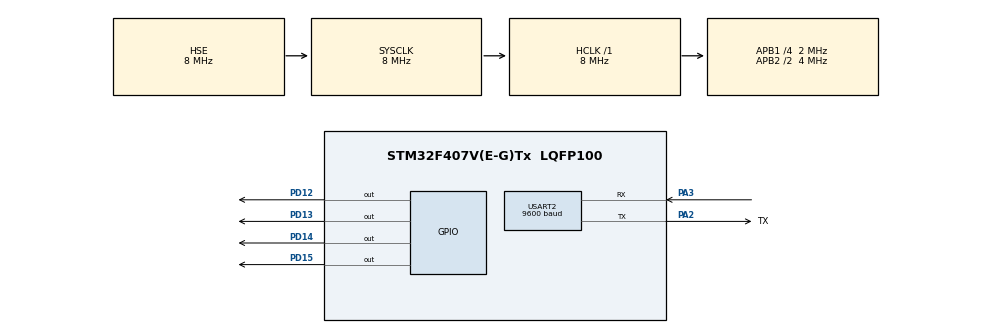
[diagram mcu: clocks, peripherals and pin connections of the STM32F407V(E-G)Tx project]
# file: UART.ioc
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Mcu.Family=STM32F4
Mcu.Name=STM32F407V(E-G)Tx
Mcu.Package=LQFP100
NVIC.PriorityGroup=NVIC_PRIORITYGROUP_4
NVIC.USART2_IRQn=true\:0\:0\:false\:false\:true\:true\:true\:true
PA2.GPIO_Label=TX
PA2.Mode=Asynchronous
PA2.Signal=USART2_TX
PA3.GPIO_PuPd=GPIO_PULLUP
PA3.Mode=Asynchronous
PA3.Signal=USART2_RX
PD12.Signal=GPIO_Output
PD13.Signal=GPIO_Output
PD14.Signal=GPIO_Output
PD15.Signal=GPIO_Output
PH0-OSC_IN.Mode=HSE-External-Oscillator
PH0-OSC_IN.Signal=RCC_OSC_IN
PH1-OSC_OUT.Mode=HSE-External-Oscillator
PH1-OSC_OUT.Signal=RCC_OSC_OUT
ProjectManager.HeapSize=0x200
ProjectManager.StackSize=0x400
ProjectManager.TargetToolchain=STM32CubeIDE
RCC.48MHZClocksFreq_Value=25000000
RCC.AHBFreq_Value=8000000
RCC.APB1CLKDivider=RCC_HCLK_DIV4
RCC.APB1Freq_Value=2000000
RCC.APB1TimFreq_Value=4000000
RCC.APB2CLKDivider=RCC_HCLK_DIV2
RCC.APB2Freq_Value=4000000
RCC.APB2TimFreq_Value=8000000
RCC.CortexFreq_Value=8000000
RCC.HCLKFreq_Value=8000000
RCC.HSE_VALUE=8000000
RCC.HSI_VALUE=16000000
RCC.LSE_VALUE=32768
RCC.PLLM=8
RCC.PLLN=100
RCC.PLLSourceVirtual=RCC_PLLSOURCE_HSE
RCC.SYSCLKFreq_VALUE=8000000
RCC.SYSCLKSource=RCC_SYSCLKSOURCE_HSE
RCC.VCOOutputFreq_Value=100000000
USART2.BaudRate=9600
USART2.Parity=PARITY_NONE
USART2.VirtualMode=VM_ASYNC
board=custom

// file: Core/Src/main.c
/* USER CODE BEGIN Header */
/**
  ******************************************************************************
  * @file           : main.c
  * @brief          : Main program body
  ******************************************************************************
  * @attention
  *
  * Copyright (c) 2024 STMicroelectronics.
  * All rights reserved.
  *
  * This software is licensed under terms that can be found in the LICENSE file
  * in the root directory of this software component.
  * If no LICENSE file comes with this software, it is provided AS-IS.
  *
  ******************************************************************************
  */
/* USER CODE END Header */
#include "main.h"

/* USER CODE BEGIN PD */
//#define TX;
#define RX;
/* USER CODE END PD */

UART_HandleTypeDef huart2;

/* USER CODE BEGIN PV */
char TxBuffer[5]="nizar";
char RxBuffer[5];

/* USER CODE END PV */

void SystemClock_Config(void);
static void MX_GPIO_Init(void);
static void MX_USART2_UART_Init(void);

/* USER CODE BEGIN 0 */
#ifdef TX
void HAL_UART_TxCpltCallback(UART_HandleTypeDef *huart)
{
	  HAL_GPIO_WritePin(GPIOD, GPIO_PIN_12, GPIO_PIN_SET);

}
#endif
#ifdef RX
void HAL_UART_RxCpltCallback(UART_HandleTypeDef *huart)
{
	HAL_GPIO_WritePin(GPIOD, GPIO_PIN_12, GPIO_PIN_SET);
}
#endif

/* USER CODE END 0 */

int main(void)
{

  /* MCU Configuration--------------------------------------------------------*/

  /* Reset of all peripherals, Initializes the Flash interface and the Systick. */
  HAL_Init();

  /* Configure the system clock */
  SystemClock_Config();

  /* Initialize all configured peripherals */
  MX_GPIO_Init();
  MX_USART2_UART_Init();
  /* USER CODE BEGIN 2 */
#ifdef TX
  if(HAL_UART_Transmit_IT(&huart2, TxBuffer, sizeof(TxBuffer)) != HAL_OK)
  {
    Error_Handler();
  }
#endif

#ifdef RX
  if (HAL_UART_Receive_IT(&huart2, RxBuffer,sizeof(RxBuffer)) != HAL_OK)
  {
    Error_Handler();
  }
#endif
  /* USER CODE END 2 */

  /* Infinite loop */
  /* USER CODE BEGIN WHILE */

  while (1)
  {

	  HAL_GPIO_TogglePin(GPIOD,GPIO_PIN_13|GPIO_PIN_15);

    /* USER CODE END WHILE */

  }
}

void SystemClock_Config(void)
{
  RCC_OscInitTypeDef RCC_OscInitStruct = {0};
  RCC_ClkInitTypeDef RCC_ClkInitStruct = {0};

  /** Configure the main internal regulator output voltage
  */
  __HAL_RCC_PWR_CLK_ENABLE();
  __HAL_PWR_VOLTAGESCALING_CONFIG(PWR_REGULATOR_VOLTAGE_SCALE1);

  /** Initializes the RCC Oscillators according to the specified parameters
  * in the RCC_OscInitTypeDef structure.
  */
  RCC_OscInitStruct.OscillatorType = RCC_OSCILLATORTYPE_HSE;
  RCC_OscInitStruct.HSEState = RCC_HSE_ON;
  RCC_OscInitStruct.PLL.PLLState = RCC_PLL_NONE;
  if (HAL_RCC_OscConfig(&RCC_OscInitStruct) != HAL_OK)
  {
    Error_Handler();
  }

  /** Initializes the CPU, AHB and APB buses clocks
  */
  RCC_ClkInitStruct.ClockType = RCC_CLOCKTYPE_HCLK|RCC_CLOCKTYPE_SYSCLK
                              |RCC_CLOCKTYPE_PCLK1|RCC_CLOCKTYPE_PCLK2;
  RCC_ClkInitStruct.SYSCLKSource = RCC_SYSCLKSOURCE_HSE;
  RCC_ClkInitStruct.AHBCLKDivider = RCC_SYSCLK_DIV1;
  RCC_ClkInitStruct.APB1CLKDivider = RCC_HCLK_DIV4;
  RCC_ClkInitStruct.APB2CLKDivider = RCC_HCLK_DIV2;

  if (HAL_RCC_ClockConfig(&RCC_ClkInitStruct, FLASH_LATENCY_0) != HAL_OK)
  {
    Error_Handler();
  }
}

static void MX_USART2_UART_Init(void)
{

  huart2.Instance = USART2;
  huart2.Init.BaudRate = 9600;
  huart2.Init.WordLength = UART_WORDLENGTH_8B;
  huart2.Init.StopBits = UART_STOPBITS_1;
  huart2.Init.Parity = UART_PARITY_NONE;
  huart2.Init.Mode = UART_MODE_TX_RX;
  huart2.Init.HwFlowCtl = UART_HWCONTROL_NONE;
  huart2.Init.OverSampling = UART_OVERSAMPLING_16;
  if (HAL_UART_Init(&huart2) != HAL_OK)
  {
    Error_Handler();
  }

}

static void MX_GPIO_Init(void)
{
  GPIO_InitTypeDef GPIO_InitStruct = {0};

  /* GPIO Ports Clock Enable */
  __HAL_RCC_GPIOH_CLK_ENABLE();
  __HAL_RCC_GPIOA_CLK_ENABLE();
  __HAL_RCC_GPIOD_CLK_ENABLE();

  /*Configure GPIO pin Output Level */
  HAL_GPIO_WritePin(GPIOD, GPIO_PIN_12|GPIO_PIN_13|GPIO_PIN_14|GPIO_PIN_15, GPIO_PIN_RESET);

  /*Configure GPIO pins : PD12 PD13 PD14 PD15 */
  GPIO_InitStruct.Pin = GPIO_PIN_12|GPIO_PIN_13|GPIO_PIN_14|GPIO_PIN_15;
  GPIO_InitStruct.Mode = GPIO_MODE_OUTPUT_PP;
  GPIO_InitStruct.Pull = GPIO_NOPULL;
  GPIO_InitStruct.Speed = GPIO_SPEED_FREQ_LOW;
  HAL_GPIO_Init(GPIOD, &GPIO_InitStruct);

}

void Error_Handler(void)
{
  /* USER CODE BEGIN Error_Handler_Debug */
  /* User can add his own implementation to report the HAL error return state */
	HAL_GPIO_WritePin(GPIOD, GPIO_PIN_14, GPIO_PIN_SET);
  __disable_irq();
  while (1)
  {
  }
  /* USER CODE END Error_Handler_Debug */
}
